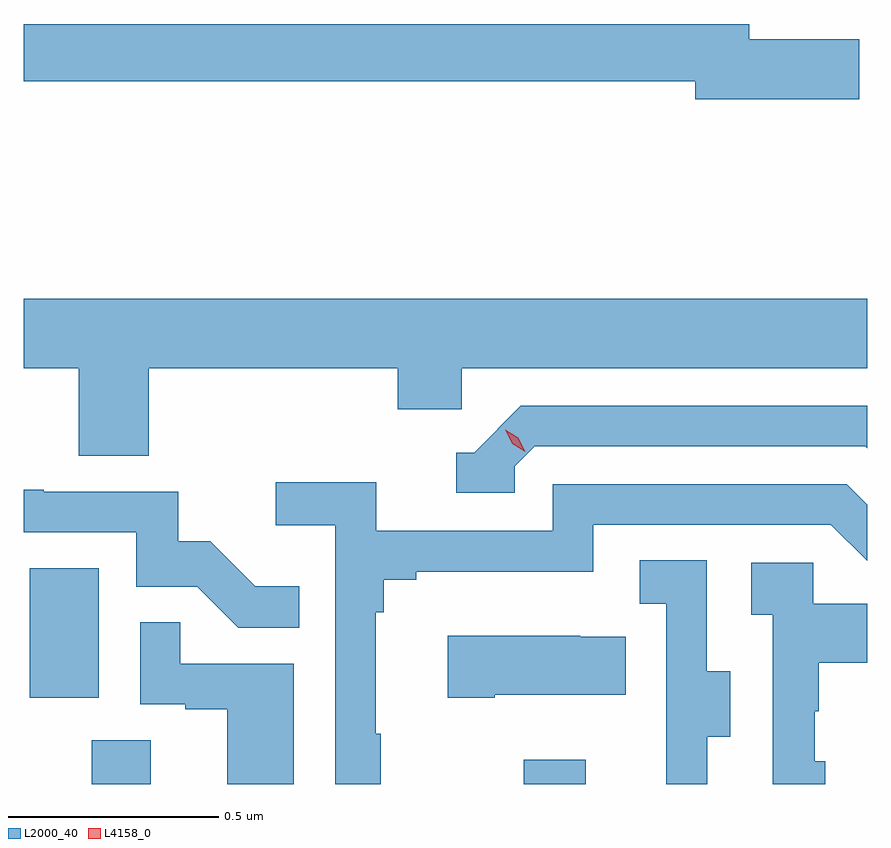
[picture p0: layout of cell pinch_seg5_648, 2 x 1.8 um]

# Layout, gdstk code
import gdstk
lib = gdstk.Library(unit=1e-6, precision=1e-09)
def R(c, l, rs):  # rectangles x0, y0, x1, y1
    for r in rs: c.add(gdstk.rectangle(r[:2], r[2:], *l))
def P(c, l, *ps):  # polygons
    for p in ps: c.add(gdstk.Polygon(p, *l))
L2000_40 = (2000, 40)
L4158_0 = (4158, 0)

pinch_seg5_648 = lib.new_cell('pinch_seg5_648')
R(pinch_seg5_648, L2000_40, [(1053.245,873.09,1053.385,873.194), (1054.27,873.09,1054.417,873.148), (1053.098,873.294,1053.262,873.601)])
P(pinch_seg5_648, L2000_40, [(1055.065,874.856),(1054.804,874.856),(1054.804,874.892),(1053.084,874.892),(1053.084,874.756),(1054.676,874.756),(1054.676,874.714),(1055.065,874.714)],
  [(1053.38,874.076),(1053.971,874.076),(1053.971,873.978),(1054.122,873.978),(1054.122,874.076),(1055.084,874.076),(1055.084,874.24),(1053.084,874.24),(1053.084,874.076),(1053.215,874.076),(1053.215,873.868),(1053.38,873.868)],
  [(1054.248,873.843),(1054.296,873.891),(1055.079,873.891),(1055.084,873.886),(1055.084,873.987),(1054.263,873.987),(1054.152,873.876),(1054.109,873.876),(1054.109,873.78),(1054.248,873.78)],
  [(1053.931,873.209),(1053.919,873.209),(1053.919,873.497),(1053.938,873.497),(1053.938,873.574),(1054.015,873.574),(1054.015,873.593),(1054.434,873.593),(1054.434,873.705),(1054.998,873.705),(1055.084,873.619),(1055.084,873.752),(1055.035,873.801),(1054.338,873.801),(1054.338,873.69),(1053.92,873.69),(1053.92,873.806),(1053.681,873.806),(1053.681,873.704),(1053.822,873.704),(1053.822,873.09),(1053.931,873.09)],
  [(1053.737,873.559),(1053.633,873.559),(1053.526,873.666),(1053.45,873.666),(1053.45,873.783),(1053.131,873.783),(1053.131,873.788),(1053.084,873.788),(1053.084,873.687),(1053.351,873.687),(1053.351,873.558),(1053.495,873.558),(1053.593,873.46),(1053.737,873.46)],
  [(1054.705,873.202),(1054.759,873.202),(1054.759,873.357),(1054.704,873.357),(1054.704,873.62),(1054.545,873.62),(1054.545,873.517),(1054.608,873.517),(1054.608,873.213),(1054.607,873.213),(1054.607,873.09),(1054.705,873.09)],
  [(1054.984,873.144),(1054.959,873.144),(1054.959,873.263),(1054.969,873.263),(1054.969,873.377),(1055.084,873.377),(1055.084,873.517),(1054.956,873.517),(1054.956,873.615),(1054.809,873.615),(1054.809,873.491),(1054.86,873.491),(1054.86,873.09),(1054.984,873.09)],
  [(1053.724,873.375),(1053.455,873.375),(1053.455,873.473),(1053.36,873.473),(1053.36,873.279),(1053.467,873.279),(1053.467,873.267),(1053.566,873.267),(1053.566,873.09),(1053.724,873.09)],
  [(1054.201,873.302),(1054.511,873.302),(1054.511,873.439),(1054.403,873.439),(1054.403,873.442),(1054.089,873.442),(1054.089,873.295),(1054.201,873.295)])
P(pinch_seg5_648, L4158_0, [(1054.273,873.878),(1054.242,873.897),(1054.226,873.93),(1054.226,873.93),(1054.226,873.93),(1054.257,873.911),(1054.273,873.878),(1054.273,873.878)])

lib.write_gds('pinch_seg5_648.gds')
